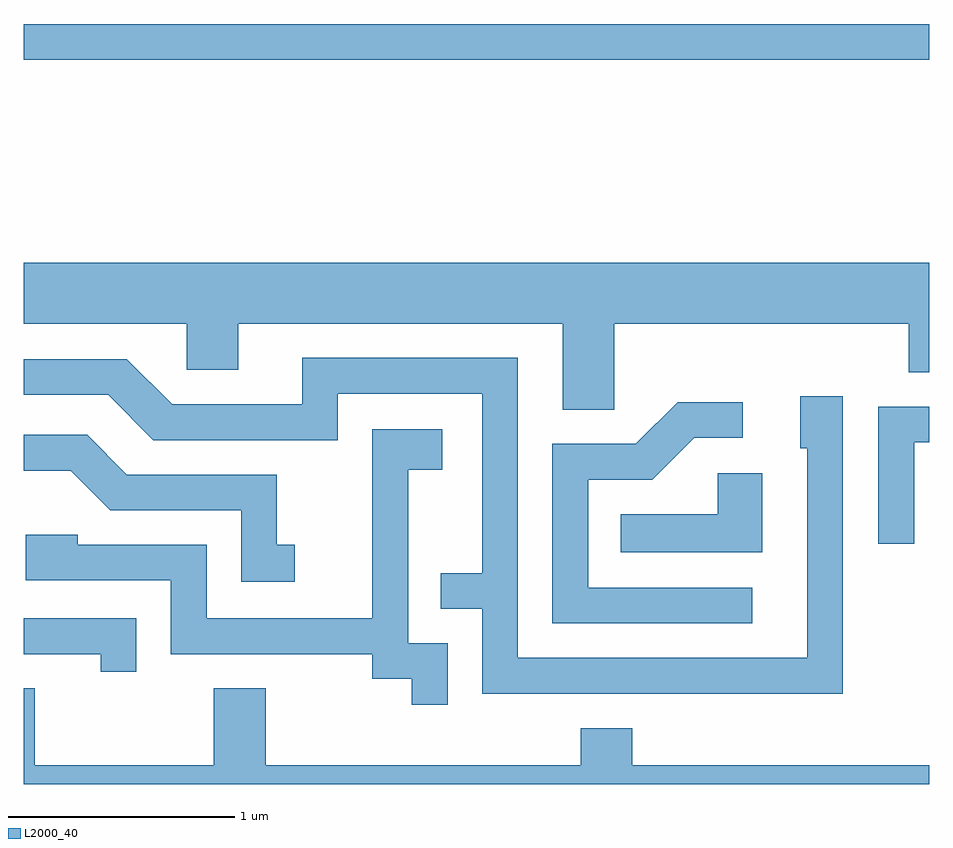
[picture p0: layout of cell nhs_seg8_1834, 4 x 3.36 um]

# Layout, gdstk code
import gdstk
lib = gdstk.Library(unit=1e-6, precision=1e-09)
def R(c, l, rs):  # rectangles x0, y0, x1, y1
    for r in rs: c.add(gdstk.rectangle(r[:2], r[2:], *l))
def P(c, l, *ps):  # polygons
    for p in ps: c.add(gdstk.Polygon(p, *l))
L2000_40 = (2000, 40)

nhs_seg8_1834 = lib.new_cell('nhs_seg8_1834')
R(nhs_seg8_1834, L2000_40, [(239.611,1877.541,243.611,1877.699)])
P(nhs_seg8_1834, L2000_40, [(242.219,1876.376),(243.521,1876.376),(243.521,1876.161),(243.611,1876.161),(243.611,1876.644),(239.611,1876.644),(239.611,1876.376),(240.331,1876.376),(240.331,1876.171),(240.559,1876.171),(240.559,1876.376),(241.991,1876.376),(241.991,1875.996),(242.219,1875.996)],
  [(243.229,1876.054),(243.041,1876.054),(243.041,1875.826),(243.071,1875.826),(243.071,1874.899),(241.794,1874.899),(241.794,1876.224),(240.841,1876.224),(240.841,1876.019),(240.267,1876.019),(240.067,1876.219),(239.611,1876.219),(239.611,1876.061),(239.984,1876.061),(240.184,1875.861),(240.999,1875.861),(240.999,1876.066),(241.636,1876.066),(241.636,1875.274),(241.453,1875.274),(241.453,1875.116),(241.636,1875.116),(241.636,1874.741),(243.229,1874.741)],
  [(242.828,1875.209),(242.104,1875.209),(242.104,1875.686),(242.387,1875.686),(242.572,1875.871),(242.788,1875.871),(242.788,1876.029),(242.499,1876.029),(242.314,1875.844),(241.946,1875.844),(241.946,1875.051),(242.828,1875.051)],
  [(243.544,1875.851),(243.611,1875.851),(243.611,1876.009),(243.386,1876.009),(243.386,1875.403),(243.544,1875.403)],
  [(241.484,1874.964),(241.309,1874.964),(241.309,1875.731),(241.459,1875.731),(241.459,1875.909),(241.151,1875.909),(241.151,1875.074),(240.419,1875.074),(240.419,1875.399),(239.849,1875.399),(239.849,1875.444),(239.621,1875.444),(239.621,1875.241),(240.261,1875.241),(240.261,1874.916),(241.151,1874.916),(241.151,1874.806),(241.326,1874.806),(241.326,1874.693),(241.484,1874.693)],
  [(240.808,1875.399),(240.729,1875.399),(240.729,1875.709),(240.067,1875.709),(239.892,1875.884),(239.611,1875.884),(239.611,1875.726),(239.819,1875.726),(239.994,1875.551),(240.571,1875.551),(240.571,1875.236),(240.808,1875.236)],
  [(242.874,1875.714),(242.676,1875.714),(242.676,1875.534),(242.248,1875.534),(242.248,1875.366),(242.874,1875.366)],
  [(240.109,1875.074),(239.611,1875.074),(239.611,1874.916),(239.951,1874.916),(239.951,1874.838),(240.109,1874.838)],
  [(243.611,1874.424),(242.299,1874.424),(242.299,1874.589),(242.071,1874.589),(242.071,1874.424),(240.679,1874.424),(240.679,1874.764),(240.451,1874.764),(240.451,1874.424),(239.659,1874.424),(239.659,1874.764),(239.611,1874.764),(239.611,1874.342),(243.611,1874.342)])

lib.write_gds('nhs_seg8_1834.gds')
